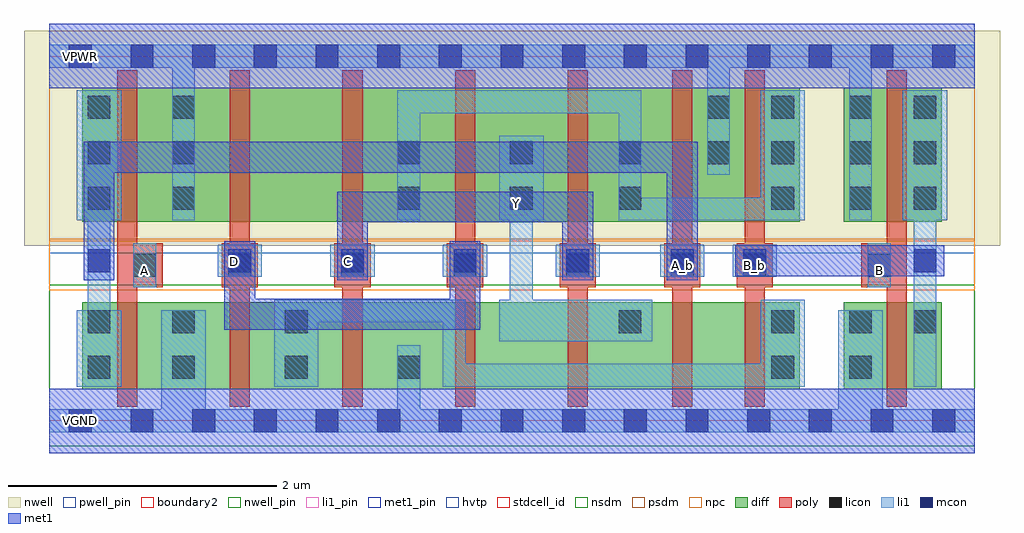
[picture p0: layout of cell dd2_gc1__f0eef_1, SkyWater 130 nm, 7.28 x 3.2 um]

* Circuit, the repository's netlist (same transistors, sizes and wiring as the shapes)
.subckt dd2_gc1__f0eef_1 A B C D VGND VNB VPB VPWR Y
X0 A_b A VGND VNB sky130_fd_pr__nfet_01v8 w=0.65 l=0.15
X1 A_b A VPWR VPB sky130_fd_pr__pfet_01v8_hvt w=1 l=0.15
X2 B_b B VGND VNB sky130_fd_pr__nfet_01v8 w=0.65 l=0.15
X3 B_b B VPWR VPB sky130_fd_pr__pfet_01v8_hvt w=1 l=0.15
X4 Y C n1 VNB sky130_fd_pr__nfet_01v8 w=0.65 l=0.15
X5 n1 D VGND VNB sky130_fd_pr__nfet_01v8 w=0.65 l=0.15
X6 Y A_b n2 VNB sky130_fd_pr__nfet_01v8 w=0.65 l=0.15
X7 n2 B_b n3 VNB sky130_fd_pr__nfet_01v8 w=0.65 l=0.15
X8 n3 C VGND VNB sky130_fd_pr__nfet_01v8 w=0.65 l=0.15
X9 n3 D VGND VNB sky130_fd_pr__nfet_01v8 w=0.65 l=0.15
X10 Y C p1 VPB sky130_fd_pr__pfet_01v8_hvt w=1 l=0.15
X11 Y D p1 VPB sky130_fd_pr__pfet_01v8_hvt w=1 l=0.15
X12 p1 A_b VPWR VPB sky130_fd_pr__pfet_01v8_hvt w=1 l=0.15
X13 p1 B_b VPWR VPB sky130_fd_pr__pfet_01v8_hvt w=1 l=0.15
X14 p1 C p2 VPB sky130_fd_pr__pfet_01v8_hvt w=1 l=0.15
X15 p2 D VPWR VPB sky130_fd_pr__pfet_01v8_hvt w=1 l=0.15
.ends

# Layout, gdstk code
import gdstk
lib = gdstk.Library(unit=1e-6, precision=1e-09)
def R(c, l, rs):  # rectangles x0, y0, x1, y1
    for r in rs: c.add(gdstk.rectangle(r[:2], r[2:], *l))
def A(c, l, x, y, w, h, nx, ny, dx, dy):  # array of equal rectangles
    R(c, l, [(x+i*dx, y+j*dy, x+i*dx+w, y+j*dy+h) for i in range(nx) for j in range(ny)])
nwell_pin = (64, 16)
nwell = (64, 20)
diff = (65, 20)
poly = (66, 20)
licon = (66, 44)
li1_pin = (67, 16)
li1 = (67, 20)
mcon = (67, 44)
met1_pin = (68, 16)
met1 = (68, 20)
hvtp = (78, 44)
stdcell_id = (81, 4)
nsdm = (93, 44)
psdm = (94, 20)
npc = (95, 20)
pwell_pin = (122, 16)
boundary2 = (236, 0)

dd2_gc1__f0eef_1 = lib.new_cell('dd2_gc1__f0eef_1')
R(dd2_gc1__f0eef_1, nwell_pin, [(0.145,2.635,0.315,2.805)])
R(dd2_gc1__f0eef_1, nwell, [(-0.19,1.305,7.09,2.91)])
R(dd2_gc1__f0eef_1, diff, [(0.245,0.235,5.595,0.885), (5.925,0.235,6.655,0.885), (0.245,1.485,5.595,2.485), (5.925,1.485,6.655,2.485)])
A(dd2_gc1__f0eef_1, poly, 0.505, 0.105, 0.15, 2.51, 5, 1, 0.84, 0)
A(dd2_gc1__f0eef_1, poly, 1.285, 0.995, 0.27, 0.33, 4, 1, 0.84, 0)
R(dd2_gc1__f0eef_1, poly, [(4.645,0.105,4.795,2.615), (5.185,0.105,5.335,2.615), (6.245,0.105,6.395,2.615), (0.505,0.995,0.845,1.325), (4.585,0.995,4.855,1.325), (5.125,0.995,5.395,1.325), (6.055,0.995,6.395,1.325)])
A(dd2_gc1__f0eef_1, licon, 0.915, 0.315, 0.17, 0.17, 3, 1, 0.84, 0)
A(dd2_gc1__f0eef_1, licon, 1.335, 1.075, 0.17, 0.17, 4, 1, 0.84, 0)
A(dd2_gc1__f0eef_1, licon, 0.285, 1.575, 0.17, 0.17, 1, 3, 0, 0.34)
A(dd2_gc1__f0eef_1, licon, 0.915, 1.575, 0.17, 0.17, 1, 3, 0, 0.34)
A(dd2_gc1__f0eef_1, licon, 5.385, 1.575, 0.17, 0.17, 1, 3, 0, 0.34)
A(dd2_gc1__f0eef_1, licon, 5.965, 1.575, 0.17, 0.17, 1, 3, 0, 0.34)
A(dd2_gc1__f0eef_1, licon, 6.445, 1.575, 0.17, 0.17, 1, 3, 0, 0.34)
R(dd2_gc1__f0eef_1, licon, [(0.285,0.315,0.455,0.485), (5.385,0.315,5.555,0.485), (5.965,0.315,6.135,0.485), (0.285,0.655,0.455,0.825), (0.915,0.655,1.085,0.825), (1.755,0.655,1.925,0.825), (4.245,0.655,4.415,0.825), (5.385,0.655,5.555,0.825), (5.965,0.655,6.135,0.825), (6.445,0.655,6.615,0.825), (0.625,1.075,0.795,1.245), (4.635,1.075,4.805,1.245), (5.175,1.075,5.345,1.245), (6.105,1.075,6.275,1.245), (2.595,1.575,2.765,1.745), (3.435,1.575,3.605,1.745), (4.245,1.575,4.415,1.745), (2.595,1.915,2.765,2.085), (3.435,1.915,3.605,2.085), (4.245,1.915,4.415,2.085), (4.905,1.915,5.075,2.085), (4.905,2.255,5.075,2.425)])
R(dd2_gc1__f0eef_1, li1_pin, [(0.63,1.035,0.79,1.205), (6.11,1.035,6.27,1.205), (1.295,1.105,1.465,1.275), (2.135,1.105,2.305,1.275), (3.395,1.535,3.565,1.705)])
A(dd2_gc1__f0eef_1, li1, 1.255, 1.075, 0.33, 0.24, 4, 1, 0.84, 0)
R(dd2_gc1__f0eef_1, li1, [(0,-0.085,6.9,0.085), (0.835,-0.085,1.165,0.825), (2.595,-0.085,2.765,0.565), (5.885,-0.085,6.215,0.825), (0.205,0.255,0.535,0.825), (1.675,0.255,2.005,0.905), (2.935,0.255,3.105,0.905), (2.935,0.255,5.635,0.425), (5.305,0.255,5.635,0.905), (6.445,0.255,6.615,0.905), (3.355,0.595,4.495,0.905), (1.675,0.735,3.105,0.905), (0.285,0.815,0.455,1.505), (3.435,0.895,3.605,1.505), (6.445,0.895,6.615,1.505), (0.625,0.995,0.795,1.325), (6.105,0.995,6.275,1.325), (4.555,1.075,4.885,1.315), (5.095,1.075,5.425,1.315), (0.205,1.495,0.535,2.465), (0.915,1.495,1.085,2.805), (2.595,1.495,2.765,2.465), (3.355,1.495,3.685,2.125), (4.245,1.495,4.415,2.465), (4.245,1.495,5.635,1.665), (5.305,1.495,5.635,2.465), (5.965,1.495,6.135,2.805), (6.365,1.495,6.695,2.465), (4.905,1.835,5.075,2.805), (2.595,2.295,4.415,2.465), (0,2.635,6.9,2.805)])
A(dd2_gc1__f0eef_1, mcon, 0.145, -0.085, 0.17, 0.17, 15, 2, 0.46, 2.72)
A(dd2_gc1__f0eef_1, mcon, 1.335, 1.11, 0.17, 0.17, 4, 1, 0.84, 0)
R(dd2_gc1__f0eef_1, mcon, [(0.285,1.11,0.455,1.28), (4.635,1.11,4.805,1.28), (5.175,1.11,5.345,1.28), (6.445,1.11,6.615,1.28)])
R(dd2_gc1__f0eef_1, met1_pin, [(0.145,-0.085,0.315,0.085), (0.145,2.635,0.315,2.805)])
R(dd2_gc1__f0eef_1, met1, [(0,-0.24,6.9,0.24), (1.305,0.68,1.535,1.34), (1.305,0.68,3.215,0.91), (2.985,0.68,3.215,1.34), (0.255,1.05,0.485,2.08), (2.145,1.05,2.375,1.71), (3.825,1.05,4.055,1.71), (4.605,1.05,4.835,2.08), (5.115,1.08,6.675,1.31), (2.145,1.48,4.055,1.71), (0.255,1.85,4.835,2.08), (0,2.48,6.9,2.96)])
R(dd2_gc1__f0eef_1, hvtp, [(0,1.25,6.9,2.72)])
R(dd2_gc1__f0eef_1, stdcell_id, [(0,0,6.9,2.72)])
R(dd2_gc1__f0eef_1, nsdm, [(0,-0.19,6.9,1.015)])
R(dd2_gc1__f0eef_1, psdm, [(0,1.355,6.9,2.91)])
R(dd2_gc1__f0eef_1, npc, [(0,0.975,6.9,1.345)])
R(dd2_gc1__f0eef_1, pwell_pin, [(0.145,-0.085,0.315,0.085)])
R(dd2_gc1__f0eef_1, boundary2, [(0,0,6.9,2.72)])
dd2_gc1__f0eef_1.add(gdstk.Label('A_b', (4.72,1.16), layer=67, texttype=5))
dd2_gc1__f0eef_1.add(gdstk.Label('B_b', (5.26,1.16), layer=67, texttype=5))
dd2_gc1__f0eef_1.add(gdstk.Label('A', (0.71,1.12), layer=67, texttype=5))
dd2_gc1__f0eef_1.add(gdstk.Label('D', (1.38,1.19), layer=67, texttype=5))
dd2_gc1__f0eef_1.add(gdstk.Label('C', (2.22,1.19), layer=67, texttype=5))
dd2_gc1__f0eef_1.add(gdstk.Label('B', (6.19,1.12), layer=67, texttype=5))
dd2_gc1__f0eef_1.add(gdstk.Label('Y', (3.48,1.62), layer=67, texttype=5))
dd2_gc1__f0eef_1.add(gdstk.Label('VGND', (0.23,0), layer=68, texttype=5))
dd2_gc1__f0eef_1.add(gdstk.Label('VPWR', (0.23,2.72), layer=68, texttype=5))
dd2_gc1__f0eef_1.add(gdstk.Label('VPB', (0.23,2.72), layer=64, texttype=5))
dd2_gc1__f0eef_1.add(gdstk.Label('VNB', (0.23,0), layer=64, texttype=59))

lib.write_gds('dd2_gc1__f0eef_1.gds')
